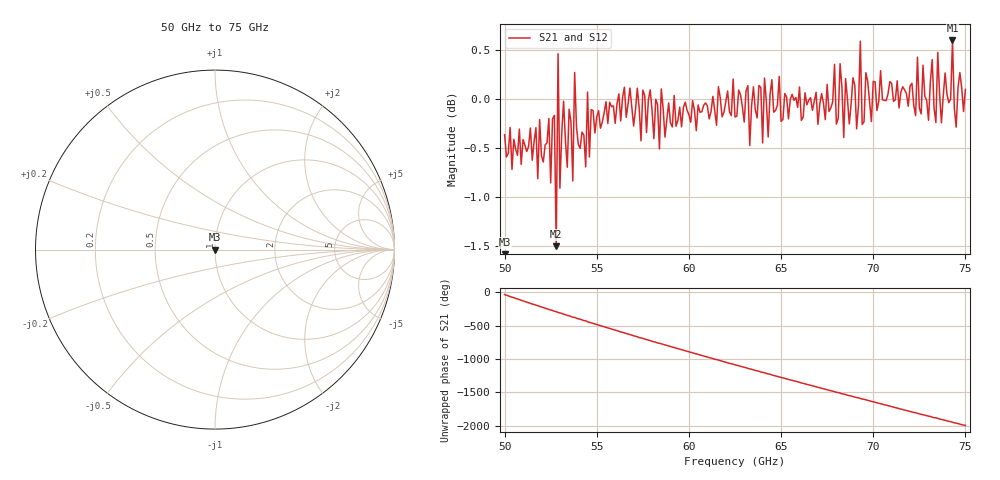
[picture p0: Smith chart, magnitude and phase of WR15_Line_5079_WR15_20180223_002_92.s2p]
# GHZ S RI R 50
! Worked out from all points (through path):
!   251 points, 50 GHz to 75 GHz, reference 50 ohm
!   highest |S21| = 0.60 dB at 74.3 GHz (marker M1); lowest = -1.5 dB at 52.8 GHz (marker M2)
!   lowest |S11| = - dB at 50 GHz (marker M3), VSWR 1.00, Z = 50 + j2.82e-15 ohm
!   |S11| at or under -10 dB: start of sweep to end of sweep
!   |S22| runs from - to - dB; largest |S21 - S12| = 1e-14
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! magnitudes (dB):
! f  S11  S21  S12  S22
! 50 GHz  -  -0.4  -0.4  -
! 52.4 GHz  -  -0.2  -0.2  -
! 52.5 GHz  -  -0.9  -0.9  -
! 52.7 GHz  -  -0.2  -0.2  -
! 52.8 GHz  -  -1.5  -1.5  -
! 52.9 GHz  -  0.5  0.5  -
! 53 GHz  -  -0.9  -0.9  -
! 53.2 GHz  -  0.0  0.0  -
! 53.7 GHz  -  -0.8  -0.8  -
! 53.8 GHz  -  0.3  0.3  -
! 54.2 GHz  -  -0.3  -0.3  -
! 58.4 GHz  -  -0.5  -0.5  -
! 62.5 GHz  -  -0.2  -0.2  -
! 66.7 GHz  -  -0.1  -0.1  -
! 70.9 GHz  -  0.2  0.2  -
! 73.2 GHz  -  0.4  0.4  -
! 73.4 GHz  -  -0.2  -0.2  -
! 73.5 GHz  -  0.5  0.5  -
! 73.7 GHz  -  -0.2  -0.2  -
! 74.3 GHz  -  0.6  0.6  -
! 74.5 GHz  -  -0.3  -0.3  -
! 75 GHz  -  0.1  0.1  -
